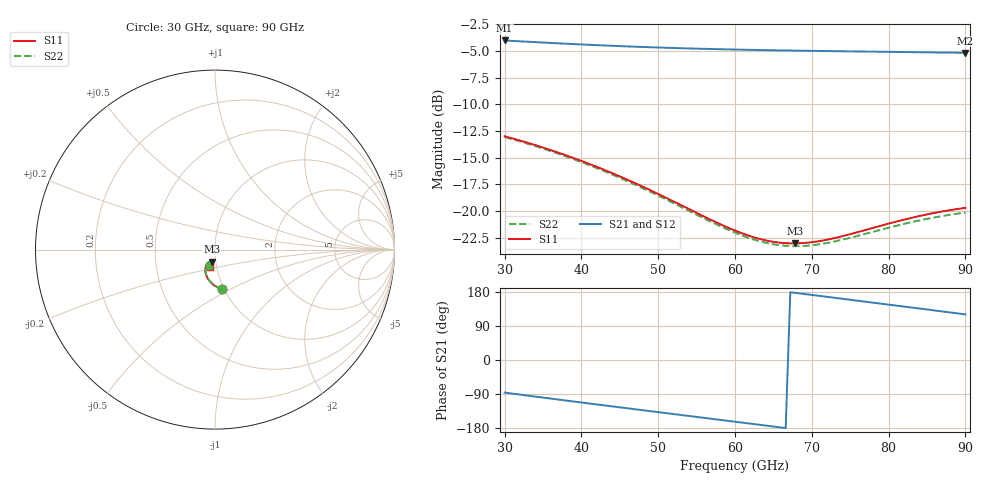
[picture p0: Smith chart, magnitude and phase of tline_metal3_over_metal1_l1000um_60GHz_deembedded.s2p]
! Created with skrf 2.0.1 (http://scikit-rf.org).
# GHz S DB R 50.0
!freq dBS11 angS11 dBS21 angS21 dBS12 angS12 dBS22 angS22
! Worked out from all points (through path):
!   101 points, 30 GHz to 90 GHz, reference 50 ohm
!   highest |S21| = -4.02 dB at 30 GHz (marker M1); lowest = -5.2 dB at 90 GHz (marker M2)
!   group delay of S21, straight-line fit = 7.08 ps
!   lowest |S11| = -23.0 dB at 67.8 GHz (marker M3), VSWR 1.15, Z = 47.7 - j6.53 ohm
!   |S11| at or under -10 dB: start of sweep to end of sweep
!   |S22| runs from -23.3 to -13.1 dB; largest |S21 - S12| = 3.5e-16
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30  -12.99 -80.2  -4.02 -86.0  -4.02 -86.0  -13.06 -80.3
32.4  -13.48 -85.8  -4.11 -92.3  -4.11 -92.3  -13.55 -86.0
34.8  -14.00 -91.2  -4.20 -98.6  -4.20 -98.6  -14.09 -91.4
37.2  -14.57 -96.3  -4.29 -104.9  -4.29 -104.9  -14.67 -96.5
40.2  -15.35 -102.2  -4.40 -112.6  -4.40 -112.6  -15.46 -102.5
42.6  -16.03 -106.5  -4.47 -118.8  -4.47 -118.8  -16.15 -106.9
45.6  -16.94 -111.2  -4.56 -126.4  -4.56 -126.4  -17.07 -111.7
50.4  -18.53 -116.8  -4.68 -138.6  -4.68 -138.6  -18.68 -117.4
55.2  -20.23 -119.0  -4.79 -150.8  -4.79 -150.8  -20.40 -119.9
57.6  -21.06 -118.5  -4.83 -156.8  -4.83 -156.8  -21.25 -119.5
60  -21.82 -116.8  -4.87 -162.9  -4.87 -162.9  -22.01 -118.0
62.4  -22.44 -114.0  -4.90 -169.0  -4.90 -169.0  -22.65 -115.3
64.2  -22.77 -111.3  -4.92 -173.5  -4.92 -173.5  -22.99 -112.8
66  -22.97 -108.3  -4.95 -178.1  -4.95 -178.1  -23.21 -109.9
67.8  -23.02 -105.3  -4.97 177.3  -4.97 177.3  -23.28 -107.0
70.2  -22.89 -101.7  -4.99 171.2  -4.99 171.2  -23.18 -103.6
72.6  -22.58 -99.0  -5.02 165.1  -5.02 165.1  -22.89 -101.0
75  -22.16 -97.4  -5.04 158.9  -5.04 158.9  -22.50 -99.5
77.4  -21.68 -96.9  -5.06 152.8  -5.06 152.8  -22.05 -99.0
80.4  -21.10 -97.6  -5.09 145.1  -5.09 145.1  -21.48 -99.8
85.2  -20.28 -101.0  -5.13 132.8  -5.13 132.8  -20.70 -103.5
90  -19.69 -106.4  -5.18 120.4  -5.18 120.4  -20.14 -109.1
